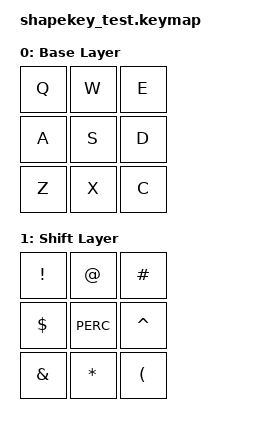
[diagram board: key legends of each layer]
/ {
    // 必要なインクルードファイル
    #include <behaviors.dtsi>
    #include <dt-bindings/zmk/bt.h>
    #include <behaviors.dtsi>
    #include <dt-bindings/zmk/keys.h>

    // キーマップノード
    keymap {
        compatible = "zmk,keymap";

        // レイヤー0 (デフォルトレイヤー)
        default_layer {
            bindings = <
                &kp Q   &kp W   &kp E   // 1行目: Q W E
                &kp A   &kp S   &kp D   // 2行目: A S D
                &kp Z   &kp X   &kp C   // 3行目: Z X C
            >;
            label = "Base Layer";
        };

        // レイヤー1 (シフトレイヤー)
        shift_layer {
            bindings = <
                &kp EXCL  &kp AT    &kp HASH  // 1行目: ! @ #
                &kp DOLLAR  &kp PERC  &kp CARET // 2行目: $ % ^
                &kp AMPS    &kp STAR  &kp LPAR  // 3行目: & * (
            >;
            label = "Shift Layer";
        };
    };
};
